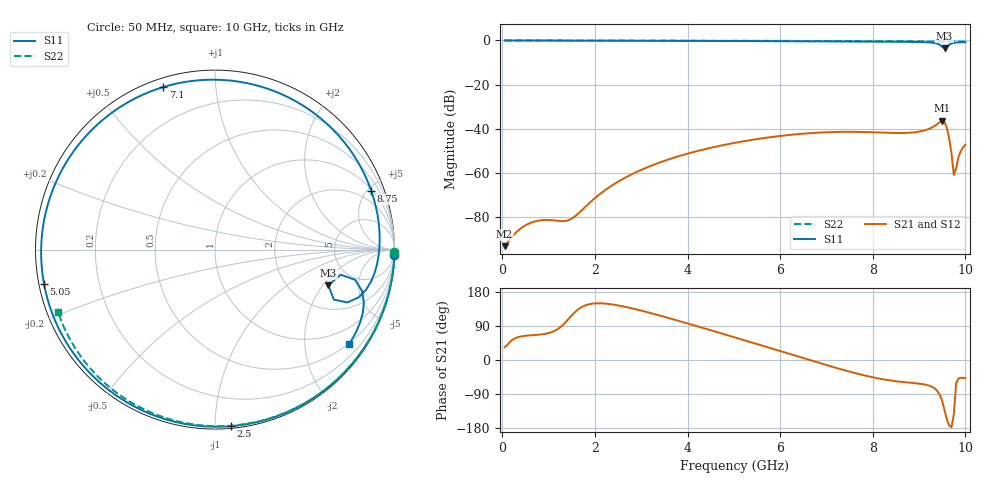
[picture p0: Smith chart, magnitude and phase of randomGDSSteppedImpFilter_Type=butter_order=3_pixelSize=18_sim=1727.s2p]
! freq	dB(S11)	phase(S11)	dB(S12)	phase(S12)
!  dB(S21)	phase(S21)	dB(S22)	phase(S22)
!S-par simulation data
#  GHz  S  DB  R 50
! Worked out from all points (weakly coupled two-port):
!   200 points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, 50 MHz to 10 GHz, reference 50 ohm
!   highest |S21| = -36.29 dB at 9.5 GHz (marker M1); lowest = -93.1 dB at 50 MHz (marker M2)
!   lowest |S11| = -3.6 dB at 9.55 GHz (marker M3), VSWR 4.91, Z = 160 - j113 ohm
!   |S11| at or under -10 dB: nowhere
!   |S22| runs from -0.5 to 0.0 dB; largest |S21 - S12| = 0
!   S11 on the Smith chart (normalised r, x): 50 MHz: 0, -65; 2.5 GHz: 0.01, -1.09; 5.05 GHz: 0.01, -0.10; 7.1 GHz: 0.04, +0.73; 8.75 GHz: 1.09, +5.28; 10 GHz: 0.49, -3.10
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0.05  -0.00 -1.8  -93.05 33.6  -93.05 33.6  -0.00 -0.9
0.75  -0.03 -26.2  -81.62 66.4  -81.62 66.4  -0.02 -13.7
1.55  -0.07 -53.5  -79.89 124.1  -79.89 124.1  -0.04 -28.0
1.75  -0.08 -60.2  -76.11 141.9  -76.11 141.9  -0.04 -31.5
2.5  -0.11 -84.9  -63.88 144.0  -63.88 144.0  -0.06 -44.6
3.4  -0.15 -113.9  -55.19 117.3  -55.19 117.3  -0.08 -59.8
4.3  -0.20 -143.1  -49.55 85.8  -49.55 85.8  -0.11 -74.4
5.05  -0.25 -168.6  -46.19 58.6  -46.19 58.6  -0.13 -86.2
5.9  -0.32 159.9  -43.45 27.2  -43.45 27.2  -0.17 -99.1
6.7  -0.40 126.3  -41.86 -2.5  -41.86 -2.5  -0.22 -110.9
7.1  -0.44 107.6  -41.45 -17.0  -41.45 -17.0  -0.24 -116.7
7.75  -0.50 74.9  -41.38 -38.6  -41.38 -38.6  -0.29 -126.0
8.35  -0.57 42.6  -41.79 -53.5  -41.79 -53.5  -0.35 -134.6
8.75  -0.63 20.6  -41.80 -59.3  -41.80 -59.3  -0.39 -140.3
9.25  -0.93 -8.2  -39.65 -69.1  -39.65 -69.1  -0.44 -147.4
9.5  -2.87 -22.8  -36.29 -108.7  -36.29 -108.7  -0.47 -151.0
9.55  -3.58 -17.5  -36.83 -132.1  -36.83 -132.1  -0.47 -151.8
9.65  -1.95 -12.2  -44.37 -172.9  -44.37 -172.9  -0.48 -153.3
9.7  -1.39 -15.8  -51.01 -177.2  -51.01 -177.2  -0.49 -154.0
9.75  -1.10 -19.6  -60.85 -143.3  -60.85 -143.3  -0.50 -154.7
9.85  -0.87 -26.4  -52.78 -48.8  -52.78 -48.8  -0.51 -156.2
10  -0.79 -35.0  -47.17 -48.0  -47.17 -48.0  -0.53 -158.4
